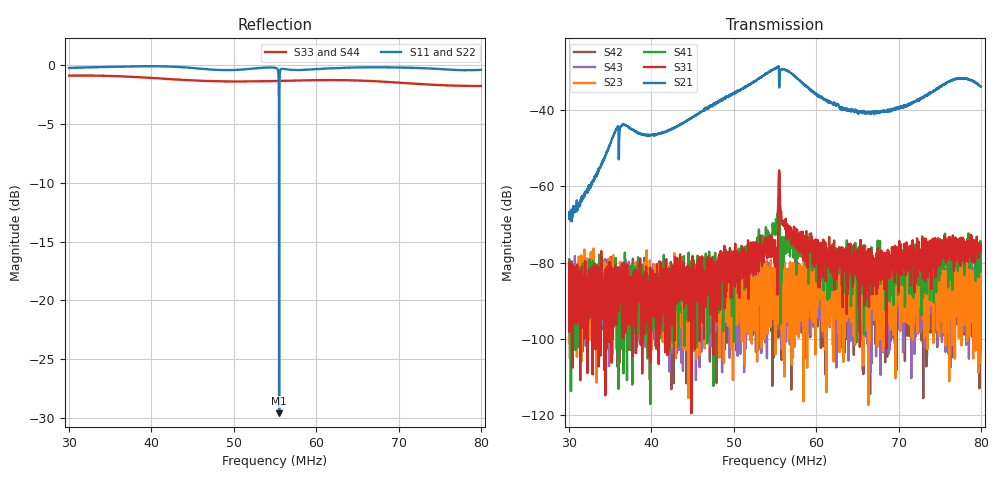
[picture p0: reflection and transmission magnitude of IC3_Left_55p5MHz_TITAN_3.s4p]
#  HZ  S  DB  R  50.00
! Rohde & Schwarz Vector Network Analyzer
! Rohde-Schwarz,ZNB8-4Port,1311601044102961,2.82
! Created: UTC 2/8/2019, 4:15:22 PM
! freq[Hz]  db:S11  ang:S11  db:S12  ang:S12  db:S13  ang:S13  db:S14  ang:S14
!  db:S21  ang:S21  db:S22  ang:S22  db:S23  ang:S23  db:S24  ang:S24
!  db:S31  ang:S31  db:S32  ang:S32  db:S33  ang:S33  db:S34  ang:S34
!  db:S41  ang:S41  db:S42  ang:S42  db:S43  ang:S43  db:S44  ang:S44
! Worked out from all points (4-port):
!   2001 points, 30 MHz to 80 MHz, reference 50 ohm
!   strongest paths, dB at 30 MHz, 42.5 MHz, 55 MHz, 67.5 MHz, 80 MHz:
!     S21: -68.5, -44.9, -29.2, -40.6, -33.9
!     S31: -98.0, -83.8, -74.1, -76.1, -75.3
!     S41: -87.2, -99.1, -70.9, -78.1, -82.4
!     S23: -87.7, -85.8, -91.9, -85.9, -83.1
!     S43: -79.1, -91.5, -91.7, -87.7, -94.1
!     S42: -89.7, -86.0, -97.0, -87.3, -90.5
!   lowest |S11| = -29.6 dB at 55.5 MHz (marker M1), VSWR 1.07, Z = 52.9 + j1.73 ohm
!   |S11| at or under -10 dB: 55.48092 MHz to 55.51882 MHz (37.9 kHz wide, 0.0683 % of centre)
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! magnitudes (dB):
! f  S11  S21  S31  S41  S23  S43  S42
! 30 MHz  -0.2  -68.5  -98.0  -87.2  -87.7  -79.1  -89.7
! 35.73 MHz  -0.1  -45.1  -87.5  -90.6  -84.1  -86.2  -89.8
! 55.1 MHz  -0.2  -28.9  -76.2  -71.0  -99.0  -90.4  -85.1
! 55.5 MHz  -29.6  -34.0  -55.8  -56.5  -81.0  -84.3  -83.8
! 55.88 MHz  -0.3  -29.4  -69.3  -81.6  -102.7  -87.5  -86.7
! 66.08 MHz  -0.2  -40.6  -77.1  -82.8  -86.3  -85.2  -95.1
! 80 MHz  -0.4  -33.9  -75.3  -82.4  -83.1  -94.1  -90.5
